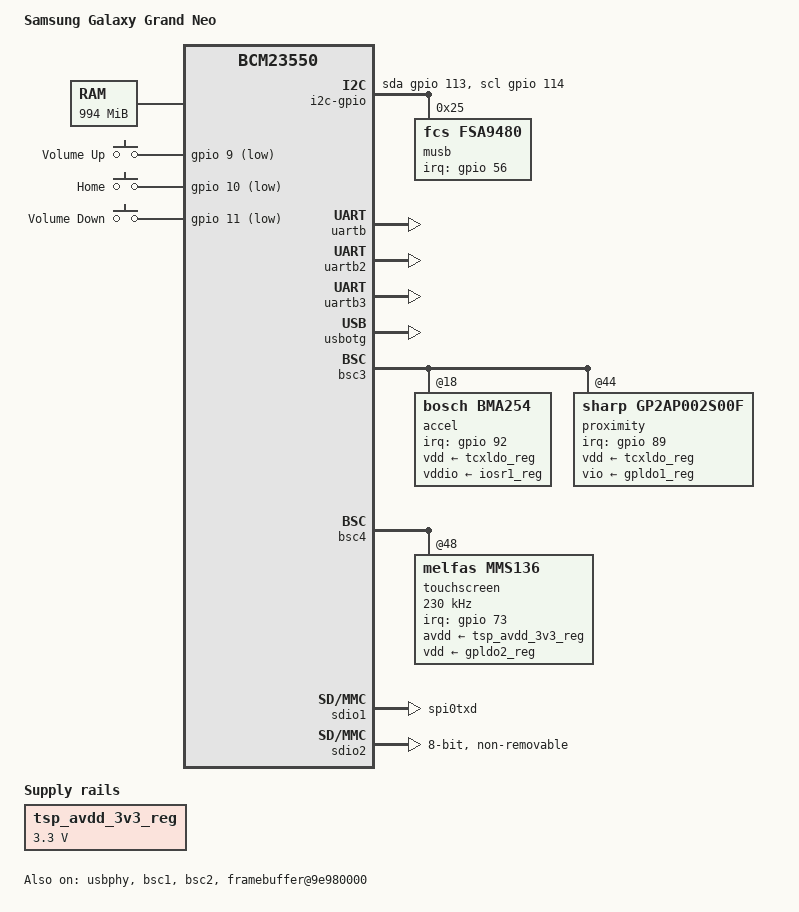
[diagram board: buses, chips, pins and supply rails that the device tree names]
// SPDX-License-Identifier: GPL-2.0-or-later

/dts-v1/;

#include <dt-bindings/gpio/gpio.h>
#include <dt-bindings/input/input.h>

#include "bcm23550.dtsi"

/ {
	model = "Samsung Galaxy Grand Neo";
	compatible = "brcm,bcm23550-baffinlite", "brcm,bcm23550", "samsung,baffinlite";

	chosen {
		stdout-path = "/slaves@3e000000/serial@2:115200n8";
		bootargs = "console=ttyS2,115200n8 mem=994M ignore_loglevel PMOS_NO_OUTPUT_REDIRECT nosmp panic=5"; /* TODO: fix smp so we can reenable it */
	};

	memory@80000000 {
		device_type = "memory";
		reg = <0x80000000 0x3E200000>;
	};

	reserved-memory {
		#address-cells = <1>;
		#size-cells = <1>;
		ranges;

		simplefb: framebuffer@9e980000 {
			reg = <0x9e980000 (480 * 800 * 4)>;
			no-map;
		};
	};

	/* Buttons */
	gpio-keys {
		compatible = "gpio-keys";

		volume-up {
			label = "Volume Up";
			gpios = <&gpio 9 GPIO_ACTIVE_LOW>;
			linux,code = <KEY_VOLUMEUP>;
			/*debounce-interval = <64>;*/
		};
		home {
			label = "Home";
			gpios = <&gpio 10 GPIO_ACTIVE_LOW>;
			linux,code = <KEY_HOMEPAGE>;
		};
		volume-down {
			label = "Volume Down";
			gpios = <&gpio 11 GPIO_ACTIVE_LOW>;
			linux,code = <KEY_VOLUMEDOWN>;
		};
	};

	/* USB switch */
	i2c-gpio {
		#address-cells = <1>;
		#size-cells = <0>;
		compatible = "i2c-gpio";
		sda-gpios = <&gpio 113 (GPIO_ACTIVE_HIGH | GPIO_OPEN_DRAIN)>;
		scl-gpios = <&gpio 114 (GPIO_ACTIVE_HIGH | GPIO_OPEN_DRAIN)>;
		i2c-gpio,delay-us = <2>;
		i2c-gpio,bus = <8>;

		musb@25 {
			compatible = "fcs,fsa9480";
			reg = <0x25>;
			interrupt-parent = <&gpio>;
			interrupts = <56 IRQ_TYPE_LEVEL_HIGH>;
		};
	};

	framebuffer@9e980000 {
		compatible = "simple-framebuffer";
		reg = <0x9e980000 (480 * 800 * 4)>;
		width = <480>;
		height = <800>;
		stride = <(480 * 4)>;
		format = "a8r8g8b8";
		status = "okay";
	};

	tsp_avdd_3v3_reg: tsp_avdd_3v3 {
		compatible = "regulator-fixed";
		regulator-name = "TSP_AVDD_3V3";
		regulator-min-microvolt = <3300000>;
		regulator-max-microvolt = <3300000>;
		regulator-always-on;
		/*gpio = <&gpio 70 GPIO_ACTIVE_HIGH>;
		enable-active-high;*/
	};
};

&uartb {
	status = "okay";
};

&uartb2 {
	status = "okay";
};

&uartb3 {
	status = "okay";
};

&usbotg {
	vusb_d-supply = <&usbldo_reg>;
	vusb_a-supply = <&iosr1_reg>;
	status = "okay";
};

&usbphy {
	status = "okay";
};

&bsc1 {
	clock-frequency = <400000>;
	status = "okay";
};

&bsc2 {
	clock-frequency = <400000>;
	status = "okay";
};

&bsc3 {
	clock-frequency = <400000>;
	pinctrl-names = "default";
	pinctrl-0 = <&bsc3_pins>;
	status = "okay";

	accel@18 {
		compatible = "bosch,bma254";
		reg = <0x18>;

		interrupt-parent = <&gpio>;
		interrupts = <92 IRQ_TYPE_EDGE_RISING>;
		pinctrl-names = "default";
		pinctrl-0 = <&acc_int>;

		mount-matrix = "-1", "0", "0",
			       "0", "-1", "0",
			       "0", "0", "-1";
		vdd-supply = <&tcxldo_reg>;
		vddio-supply = <&iosr1_reg>;
	};

	proximity@44 {
		compatible = "sharp,gp2ap002s00f";
		reg = <0x44>;

		interrupt-parent = <&gpio>;
		interrupts = <89 IRQ_TYPE_EDGE_FALLING>;
		pinctrl-names = "default";
		pinctrl-0 = <&proxi_int>;

		vdd-supply = <&tcxldo_reg>; /* SENSOR_3.3V */
		vio-supply = <&gpldo1_reg>; /* SENSOR_LED_3.3V */

		sharp,proximity-far-hysteresis = /bits/ 8 <0x2f>;
		sharp,proximity-close-hysteresis = /bits/ 8 <0x0c>;
	};
};

&bsc4 {
	clock-frequency = <400000>;
	pinctrl-names = "default";
	pinctrl-0 = <&bsc4_pins>;
	status = "okay";

	/* Melfas MMS144 touchscreen, using the mms136 compatible for now */
	touchscreen@48 {
		compatible = "melfas,mms136";
		reg = <0x48>;
		clock-frequency = <230000>;
		pinctrl-names = "default";
		pinctrl-0 = <&tsp_default>;
		interrupt-parent = <&gpio>;
		interrupts = <73 IRQ_TYPE_EDGE_FALLING>;
		avdd-supply = <&tsp_avdd_3v3_reg>;
		vdd-supply = <&gpldo2_reg>;
		touchscreen-size-x = <480>;
		touchscreen-size-y = <800>;
	};
};

&pmu_bsc {
	clock-frequency = <3400000>; /* 3.2mhz? Downstream refers to this as a HS bus, but it doesn't give any speed information other than that. */
	status = "okay";

	pmu: pmu@8 {
		reg = <0x08>;
	};
};

&pinctrl {
	cd_pullup: cd-pullup {
		pins = "spi0txd";
		function = "alt5"; /* PF_GPIO91 */
		bias-pull-up;
	};

	tsp_default: tsp-default {
		pins = "mmc1dat5";
		function = "alt5"; /* PF_GPIO73 */
		bias-disable;
		input;
	};

	acc_int: acc-int {
		pins = "spi0rxd";
		function = "alt5"; /* PF_GPIO92 */
		bias-disable;
		input;
	};

	proxi_int: proxi-int {
		pins = "spi0fss";
		function = "alt5"; /* PF_GPIO89 */
		bias-disable;
		input;
	};
};

/* SD card */
&sdio1 {
	max-frequency = <48000000>;
	cd-gpio = <&gpio 91 (GPIO_ACTIVE_LOW | GPIO_PULL_UP)>;
	pinctrl-names = "default";
	pinctrl-0 = <&cd_pullup>, <&sdio1_pins>;
	status = "okay";
};

/* Internal storage */
&sdio2 {
	non-removable;
	max-frequency = <52000000>;
	bus-width = <8>;
	status = "okay";
};

/* TODO: In the downstream board.c (both for java and baffinlite) there is
 * no sdio4 of any kind. There is, however, an sdio3, which seems to have
 * something to do with WiFi.
 *
 * I don't know what it's responsible for exactly, and if it isn't defined
 * somewhere else, and since WiFi is not a priority it is currently disabled.
 * Mockup code following the convention from previous sdio entries will follow.
 */

/*
&sdio3 {
	max-frequency = <48000000>;
	status = "okay";
};
*/

&dma {
	status = "okay";
};

#include "bcm59054.dtsi"

&pmu {
	compatible = "brcm,bcm59054";
	reg = <0x08>;
	interrupts = <GIC_SPI 33 IRQ_TYPE_LEVEL_HIGH>,
		         <GIC_SPI 34 IRQ_TYPE_LEVEL_HIGH>;
	regulators {
		rfldo_reg: rfldo {
			regulator-min-microvolt = <1300000>;
			regulator-max-microvolt = <3300000>;
			regulator-always-on;
			/*regulator-allowed-modes = <0x2 0x4 0x8>; */ /* NORMAL, IDLE, STANDBY */
			/*regulator-initial-mode = <0x8>; */ /* REGULATOR_MODE_STANDBY */
		};

		camldo1_reg: camldo1 {
			regulator-min-microvolt = <1300000>;
			regulator-max-microvolt = <3300000>;
			regulator-always-on;
			/*regulator-initial-mode = <0x8>;*/ /* REGULATOR_MODE_STANDBY */
		};

		camldo2_reg: camldo2 {
			regulator-min-microvolt = <1300000>;
			regulator-max-microvolt = <3300000>;
			regulator-always-on;
			/*regulator-initial-mode = <0x8>;*/ /* REGULATOR_MODE_STANDBY */
		};

		simldo1_reg: simldo1 {
			regulator-min-microvolt = <1300000>;
			regulator-max-microvolt = <3300000>;
			/*regulator-allowed-modes = <0x2 0x4 0x8>;*/ /* NORMAL, IDLE, STANDBY */
		};

		simldo2_reg: simldo2 {
			regulator-min-microvolt = <1300000>;
			regulator-max-microvolt = <3300000>;
			/*regulator-allowed-modes = <0x2 0x4 0x8>;*/ /* NORMAL, IDLE, STANDBY */
		};

		sdldo_reg: sdldo {
			regulator-min-microvolt = <1300000>;
			regulator-max-microvolt = <3300000>;
		};

		sdxldo_reg: sdxldo {
			regulator-min-microvolt = <1300000>;
			regulator-max-microvolt = <3300000>;
		};

		mmcldo1_reg: mmcldo1 {
			regulator-min-microvolt = <1300000>;
			regulator-max-microvolt = <3300000>;
		};

		mmcldo2_reg: mmcldo2 {
			regulator-min-microvolt = <1300000>;
			regulator-max-microvolt = <3300000>;
		};

		audldo_reg: audldo {
			regulator-min-microvolt = <1300000>;
			regulator-max-microvolt = <3300000>;
			regulator-always-on;
			/*regulator-allowed-modes = <0x2 0x4 0x8>;*/ /* NORMAL, IDLE, STANDBY */
			/*regulator-initial-mode = <0x8>;*/ /* REGULATOR_MODE_STANDBY */
		};

		usbldo_reg: usbldo {
			regulator-min-microvolt = <1300000>;
			regulator-max-microvolt = <3300000>;
		};

		micldo_reg: micldo {
			/* This regulator is locked at 1.8v */
			regulator-min-microvolt = <1800000>;
			regulator-max-microvolt = <1800000>;
		};

		vibldo_reg: vibldo {
			regulator-min-microvolt = <1300000>;
			regulator-max-microvolt = <3300000>;
		};

		gpldo1_reg: gpldo1 {
			regulator-min-microvolt = <1200000>;
			regulator-max-microvolt = <3300000>;
		};

		gpldo2_reg: gpldo2 {
			regulator-min-microvolt = <1200000>;
			regulator-max-microvolt = <3300000>;
		};

		gpldo3_reg: gpldo3 {
			regulator-min-microvolt = <1200000>;
			regulator-max-microvolt = <3300000>;
		};

		tcxldo_reg: tcxldo {
			regulator-min-microvolt = <1200000>;
			regulator-max-microvolt = <3300000>;
			regulator-always-on;
		};

		lvldo1_reg: lvldo1 {
			regulator-min-microvolt = <1000000>;
			regulator-max-microvolt = <1800000>;
		};

		lvldo2_reg: lvldo2 {
			regulator-min-microvolt = <1000000>;
			regulator-max-microvolt = <1786000>;
		};

		vsr_reg: vsr {
			regulator-min-microvolt = <860000>;
			regulator-max-microvolt = <1800000>;
		};

		csr_reg: csr {
			regulator-min-microvolt = <700000>;
			regulator-max-microvolt = <1440000>;
			regulator-always-on;
			/* regulator-initial-mode = <0x8>; */ /* REGULATOR_MODE_STANDBY */
		};

		mmsr_reg: mmsr {
			regulator-min-microvolt = <860000>;
			regulator-max-microvolt = <1800000>;
			regulator-always-on;			
			/* regulator-initial-mode = <0x4>; */ /* REGULATOR_MODE_IDLE */
		};

		sdsr1_reg: sdsr1 {
			regulator-min-microvolt = <860000>;
			regulator-max-microvolt = <1800000>;
			regulator-always-on;			
			/* regulator-initial-mode = <0x4>; */ /* REGULATOR_MODE_IDLE */
		};

		sdsr2_reg: sdsr2 {
			regulator-min-microvolt = <860000>;
			regulator-max-microvolt = <1800000>;
			regulator-always-on;			
			/* regulator-initial-mode = <0x4>; */ /* REGULATOR_MODE_IDLE */
		};

		iosr1_reg: iosr1 {
			regulator-min-microvolt = <860000>;
			regulator-max-microvolt = <1800000>;
			regulator-always-on;
			/* regulator-initial-mode = <0x4>; */ /* REGULATOR_MODE_IDLE */
		};

		iosr2_reg: iosr2 {
			regulator-min-microvolt = <860000>;
			regulator-max-microvolt = <1800000>;
		};
    };
};
